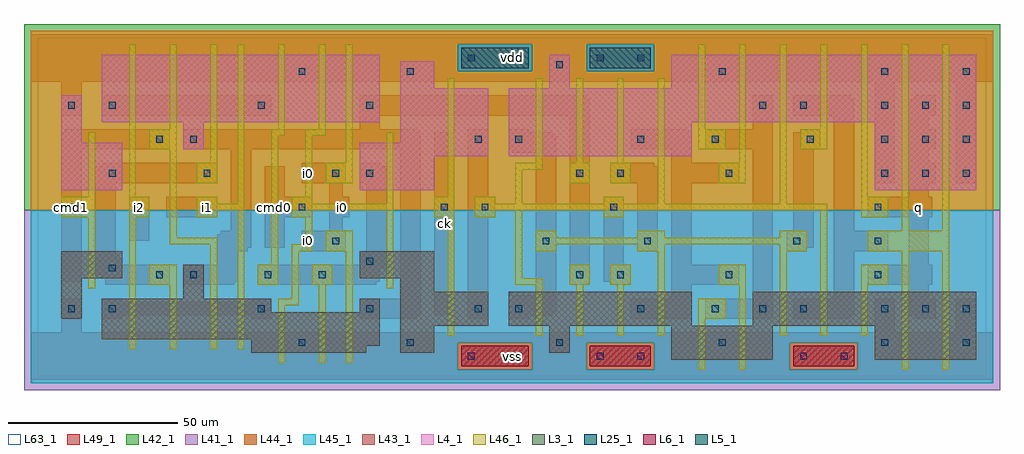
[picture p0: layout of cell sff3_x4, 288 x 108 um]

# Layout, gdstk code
import gdstk
lib = gdstk.Library(unit=1e-6, precision=1e-09)
def R(c, l, rs):  # rectangles x0, y0, x1, y1
    for r in rs: c.add(gdstk.rectangle(r[:2], r[2:], *l))
def A(c, l, x, y, w, h, nx, ny, dx, dy):  # array of equal rectangles
    R(c, l, [(x+i*dx, y+j*dy, x+i*dx+w, y+j*dy+h) for i in range(nx) for j in range(ny)])
L3_1 = (3, 1)
L4_1 = (4, 1)
L5_1 = (5, 1)
L6_1 = (6, 1)
L25_1 = (25, 1)
L41_1 = (41, 1)
L42_1 = (42, 1)
L43_1 = (43, 1)
L44_1 = (44, 1)
L45_1 = (45, 1)
L46_1 = (46, 1)
L49_1 = (49, 1)
L63_1 = (63, 1)

sff3_x4 = lib.new_cell('sff3_x4')
R(sff3_x4, L3_1, [(187,5,217,15), (247,5,277,15), (63,7,97,9), (107,7,117,15), (151,7,157,15), (63,9,101,11), (19,11,101,19), (107,15,133,25), (139,15,193,25), (211,15,277,25), (7,17,13,29), (19,19,69,23), (95,19,101,23), (43,23,49,33), (107,25,117,29), (7,29,25,37), (95,29,117,37)])
R(sff3_x4, L4_1, [(7,55,25,69), (95,55,117,65), (247,55,277,75), (95,65,133,69), (139,65,193,75), (43,67,49,75), (7,69,13,83), (107,69,133,85), (19,75,101,95), (139,75,277,85), (107,85,117,93), (151,85,157,95), (187,85,277,95)])
R(sff3_x4, L5_1, [(125,91,145,97), (163,91,181,97)])
R(sff3_x4, L6_1, [(125,3,145,9), (163,3,181,9), (223,3,241,9)])
A(sff3_x4, L25_1, 77, 9, 2, 2, 1, 3, 0, 40)
A(sff3_x4, L25_1, 153, 9, 2, 2, 3, 1, 48, 0)
A(sff3_x4, L25_1, 65, 19, 2, 2, 3, 1, 32, 0)
A(sff3_x4, L25_1, 249, 19, 2, 2, 3, 2, 12, 40)
A(sff3_x4, L25_1, 247, 29, 2, 2, 1, 3, 0, 10)
A(sff3_x4, L25_1, 9, 49, 2, 2, 3, 1, 20, 0)
A(sff3_x4, L25_1, 249, 69, 2, 2, 3, 2, 12, 10)
R(sff3_x4, L25_1, [(127,5,129,7), (141,5,143,7), (165,5,167,7), (177,5,179,7), (225,5,227,7), (237,5,239,7), (109,9,111,11), (273,9,275,11), (9,19,11,21), (21,19,23,21), (141,19,143,21), (177,19,179,21), (199,19,201,21), (213,19,215,21), (225,19,227,21), (35,29,37,31), (45,29,47,31), (67,29,69,31), (83,29,85,31), (159,29,161,31), (171,29,173,31), (203,29,205,31), (21,31,23,33), (97,33,99,35), (87,39,89,41), (149,39,151,41), (179,39,181,41), (223,39,225,41), (119,49,121,51), (131,49,133,51), (169,49,171,51), (21,59,23,61), (49,59,51,61), (87,59,89,61), (97,59,99,61), (159,59,161,61), (171,59,173,61), (203,59,205,61), (35,69,37,71), (45,69,47,71), (129,69,131,71), (141,69,143,71), (177,69,179,71), (199,69,201,71), (227,69,229,71), (9,79,11,81), (21,79,23,81), (65,79,67,81), (97,79,99,81), (213,79,215,81), (225,79,227,81), (109,89,111,91), (201,89,203,91), (249,89,251,91), (273,89,275,91), (153,91,155,93), (127,93,129,95), (141,93,143,95), (165,93,167,95), (177,93,179,95)])
R(sff3_x4, L41_1, [(-4,-4,284,49)])
R(sff3_x4, L42_1, [(-4,49,284,104)])
R(sff3_x4, L43_1, [(125,3,145,9), (163,3,181,9), (223,3,241,9), (187,5,217,15), (247,5,277,15), (63,7,97,9), (107,7,117,15), (151,7,157,15), (63,9,101,11), (19,11,101,19), (107,15,133,25), (139,15,193,25), (211,15,277,25), (7,17,13,29), (19,19,69,23), (95,19,101,23), (43,23,49,33), (107,25,117,29), (7,29,25,37), (95,29,117,37), (7,55,25,69), (95,55,117,65), (247,55,277,75), (95,65,133,69), (139,65,193,75), (43,67,49,75), (7,69,13,83), (107,69,133,85), (19,75,101,95), (139,75,277,85), (107,85,117,93), (151,85,157,95), (187,85,277,95), (125,91,145,97), (163,91,181,97)])
R(sff3_x4, L44_1, [(124,2,146,10), (162,2,182,10), (222,2,242,10), (-2,49,282,90), (-2,90,124,98), (146,90,162,98), (182,90,282,98), (-2,98,282,102)])
R(sff3_x4, L45_1, [(-2,-2,282,2), (-2,2,124,10), (146,2,162,10), (182,2,222,10), (242,2,282,10), (-2,10,282,49), (124,90,146,98), (162,90,182,98)])
A(sff3_x4, L46_1, 147, 12, 2, 15, 3, 1, 12, 0)
A(sff3_x4, L46_1, 147, 63, 2, 25, 3, 1, 12, 0)
R(sff3_x4, L46_1, [(195,2,197,17), (207,2,209,27), (255,2,257,37), (267,2,269,37), (71,4,73,21), (83,4,85,27), (91,4,93,37), (27,8,29,47), (39,8,41,27), (51,8,53,39), (59,8,61,49), (121,12,123,47), (183,12,185,37), (219,12,221,37), (231,12,233,49), (243,12,245,27), (195,17,203,23), (71,21,77,23), (75,23,77,37), (15,26,17,47), (103,26,105,49), (33,27,41,33), (65,27,71,33), (81,27,87,33), (141,27,149,29), (157,27,163,33), (169,27,175,33), (201,27,209,33), (243,27,251,33), (141,29,143,49), (69,33,71,71), (75,37,81,39), (85,37,93,43), (147,37,153,39), (177,37,185,39), (219,37,227,39), (245,37,269,43), (39,39,53,41), (79,39,81,47), (147,39,227,41), (39,41,41,67), (147,41,153,43), (177,41,185,43), (219,41,227,43), (255,43,257,98), (267,43,269,98), (7,47,17,53), (27,47,33,53), (47,47,53,49), (75,47,81,49), (117,47,123,53), (129,47,135,49), (167,47,173,49), (243,47,251,53), (47,49,61,51), (75,49,105,51), (129,49,233,51), (47,51,53,53), (59,51,61,98), (75,51,81,53), (103,51,105,72), (129,51,135,53), (141,51,143,61), (167,51,173,53), (183,51,185,88), (219,51,221,98), (15,53,17,72), (27,53,29,98), (79,53,81,71), (121,53,123,88), (243,53,245,98), (47,57,53,63), (85,57,93,63), (157,57,163,63), (169,57,175,63), (201,57,209,63), (141,61,149,63), (51,63,53,98), (91,63,93,98), (207,63,209,98), (33,67,41,73), (195,67,203,73), (225,67,233,73), (69,71,73,73), (79,71,85,73), (39,73,41,98), (71,73,73,98), (83,73,85,98), (195,73,197,98), (231,73,233,98)])
A(sff3_x4, L49_1, 257, 53, 6, 4, 1, 3, 0, 10)
R(sff3_x4, L49_1, [(-2,-1,282,13), (7,13,13,23), (247,13,253,23), (271,13,277,23), (19,17,25,18), (63,17,69,18), (95,17,112,18), (127,17,133,47), (139,17,145,18), (175,17,192,18), (197,17,217,23), (223,17,240,18), (259,17,265,18), (19,18,69,22), (95,18,113,23), (117,18,123,72), (139,18,152,19), (175,18,193,23), (223,18,241,23), (257,18,265,23), (139,19,153,23), (19,22,25,23), (63,22,69,23), (107,23,113,67), (140,23,153,24), (187,23,193,27), (211,23,217,67), (235,23,241,37), (257,23,263,27), (147,24,153,66), (20,27,39,29), (43,27,58,28), (65,27,100,28), (157,27,163,77), (169,27,175,28), (187,27,207,33), (245,27,264,33), (7,28,13,67), (43,28,59,33), (65,28,101,32), (167,28,175,33), (19,29,39,30), (17,30,39,33), (65,32,103,33), (17,33,25,35), (53,33,59,37), (95,33,103,37), (167,33,173,53), (187,33,193,57), (257,33,263,47), (17,35,23,57), (53,37,62,38), (78,37,91,43), (97,37,103,57), (177,37,183,57), (221,37,227,38), (235,37,251,43), (53,38,63,42), (67,38,73,47), (221,38,229,43), (27,40,33,53), (54,42,63,43), (57,43,63,67), (86,43,90,47), (223,43,229,67), (235,43,241,77), (38,47,53,53), (67,47,81,53), (86,47,92,53), (127,47,135,53), (245,47,264,53), (67,53,73,62), (86,53,90,57), (127,53,133,73), (17,57,53,62), (78,57,91,63), (95,57,103,62), (169,57,183,62), (187,57,207,63), (247,57,253,87), (257,57,265,63), (271,57,277,87), (19,62,53,63), (95,62,101,63), (169,62,182,63), (187,63,193,67), (140,66,153,67), (7,67,39,72), (43,67,113,72), (139,67,153,71), (175,67,193,72), (197,67,217,73), (223,67,231,72), (257,67,265,73), (139,71,152,72), (8,72,39,73), (43,72,112,73), (139,72,145,73), (175,72,192,73), (225,72,231,73), (95,73,101,77), (211,73,217,83), (7,77,13,87), (19,77,69,83), (95,77,163,82), (223,77,241,82), (257,77,265,82), (95,82,162,83), (223,82,240,83), (259,82,265,83), (-2,87,282,101)])
R(sff3_x4, L63_1, [(0,0,280,100)])
sff3_x4.add(gdstk.Label('i2', (30,50), layer=49, texttype=1))
sff3_x4.add(gdstk.Label('cmd1', (10,50), layer=49, texttype=1))
sff3_x4.add(gdstk.Label('i2', (30,50), layer=49, texttype=1))
sff3_x4.add(gdstk.Label('cmd1', (10,50), layer=49, texttype=1))
sff3_x4.add(gdstk.Label('i0', (80,40), layer=49, texttype=1))
sff3_x4.add(gdstk.Label('i0', (80,40), layer=49, texttype=1))
sff3_x4.add(gdstk.Label('i1', (50,50), layer=49, texttype=1))
sff3_x4.add(gdstk.Label('cmd0', (70,50), layer=49, texttype=1))
sff3_x4.add(gdstk.Label('i0', (90,50), layer=49, texttype=1))
sff3_x4.add(gdstk.Label('i0', (90,50), layer=49, texttype=1))
sff3_x4.add(gdstk.Label('cmd0', (70,50), layer=49, texttype=1))
sff3_x4.add(gdstk.Label('i1', (50,50), layer=49, texttype=1))
sff3_x4.add(gdstk.Label('i0', (80,60), layer=49, texttype=1))
sff3_x4.add(gdstk.Label('i0', (80,60), layer=49, texttype=1))
sff3_x4.add(gdstk.Label('ck', (120,45), layer=49, texttype=1))
sff3_x4.add(gdstk.Label('ck', (120,45), layer=49, texttype=1))
sff3_x4.add(gdstk.Label('vss', (140,6), layer=49, texttype=1))
sff3_x4.add(gdstk.Label('vss', (140,6), layer=49, texttype=1))
sff3_x4.add(gdstk.Label('vdd', (140,94), layer=49, texttype=1))
sff3_x4.add(gdstk.Label('vdd', (140,94), layer=49, texttype=1))
sff3_x4.add(gdstk.Label('q', (260,50), layer=49, texttype=1))
sff3_x4.add(gdstk.Label('q', (260,50), layer=49, texttype=1))

lib.write_gds('sff3_x4.gds')
